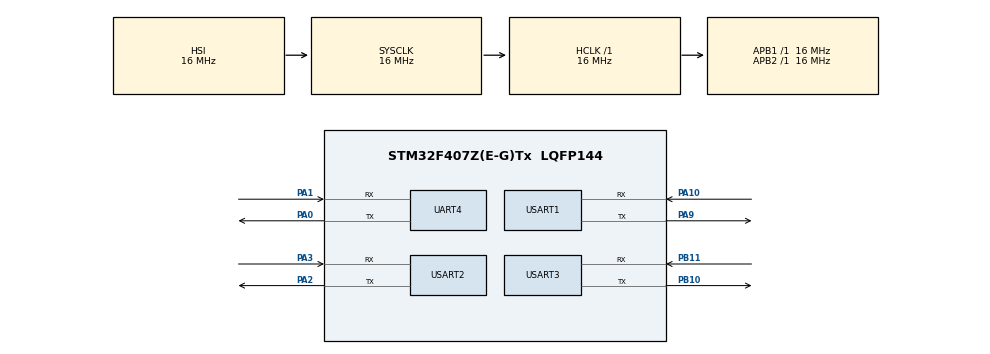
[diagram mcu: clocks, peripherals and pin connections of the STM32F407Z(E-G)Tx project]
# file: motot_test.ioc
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Mcu.Family=STM32F4
Mcu.Name=STM32F407Z(E-G)Tx
Mcu.Package=LQFP144
NVIC.PriorityGroup=NVIC_PRIORITYGROUP_4
PA0-WKUP.Mode=Asynchronous
PA0-WKUP.Signal=UART4_TX
PA1.Mode=Asynchronous
PA1.Signal=UART4_RX
PA10.Mode=Asynchronous
PA10.Signal=USART1_RX
PA13.Mode=Serial_Wire
PA13.Signal=SYS_JTMS-SWDIO
PA14.Mode=Serial_Wire
PA14.Signal=SYS_JTCK-SWCLK
PA2.Mode=Asynchronous
PA2.Signal=USART2_TX
PA3.Mode=Asynchronous
PA3.Signal=USART2_RX
PA9.Mode=Asynchronous
PA9.Signal=USART1_TX
PB10.Mode=Asynchronous
PB10.Signal=USART3_TX
PB11.Mode=Asynchronous
PB11.Signal=USART3_RX
ProjectManager.HeapSize=0x200
ProjectManager.StackSize=0x400
ProjectManager.TargetToolchain=MDK-ARM V5.32
RCC.AHBFreq_Value=16000000
RCC.APB1Freq_Value=16000000
RCC.APB2Freq_Value=16000000
RCC.CortexFreq_Value=16000000
RCC.HSE_VALUE=25000000
RCC.HSI_VALUE=16000000
RCC.LSE_VALUE=32768
RCC.SYSCLKFreq_VALUE=16000000
RCC.VCOOutputFreq_Value=192000000
UART4.VirtualMode=Asynchronous
USART1.VirtualMode=VM_ASYNC
USART2.VirtualMode=VM_ASYNC
USART3.VirtualMode=VM_ASYNC
board=custom

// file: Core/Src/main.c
/* USER CODE BEGIN Header */
/**
  ******************************************************************************
  * @file           : main.c
  * @brief          : Main program body
  ******************************************************************************
  * @attention
  *
  * Copyright (c) 2026 STMicroelectronics.
  * All rights reserved.
  *
  * This software is licensed under terms that can be found in the LICENSE file
  * in the root directory of this software component.
  * If no LICENSE file comes with this software, it is provided AS-IS.
  *
  ******************************************************************************
  */
/* USER CODE END Header */
#include "main.h"

/* USER CODE BEGIN Includes */
#include "motor_driver_emm42.h"
/* USER CODE END Includes */

UART_HandleTypeDef huart4;
UART_HandleTypeDef huart1;
UART_HandleTypeDef huart2;
UART_HandleTypeDef huart3;

void SystemClock_Config(void);
static void MX_GPIO_Init(void);
static void MX_USART1_UART_Init(void);
static void MX_UART4_Init(void);
static void MX_USART2_UART_Init(void);
static void MX_USART3_UART_Init(void);

/* USER CODE BEGIN 0 */
Emm42_Handle motor1;
Emm42_Handle motor2;
Emm42_Handle motor3;
Emm42_Handle motor4;
/* USER CODE END 0 */

int main(void)
{

  /* MCU Configuration--------------------------------------------------------*/

  /* Reset of all peripherals, Initializes the Flash interface and the Systick. */
  HAL_Init();

  /* Configure the system clock */
  SystemClock_Config();

  /* Initialize all configured peripherals */
  MX_GPIO_Init();
  MX_USART1_UART_Init();
  MX_UART4_Init();
  MX_USART2_UART_Init();
  MX_USART3_UART_Init();
  /* USER CODE BEGIN 2 */
  Emm42_Init(&motor1, &huart1, 1);  // motor1 接 USART1
  Emm42_Init(&motor2, &huart2, 1);  // motor2 接 USART2，地址都可以是1了
  Emm42_Init(&motor3, &huart3, 1);  // motor3 接 USART3
  Emm42_Init(&motor4, &huart4, 1);  // motor4 接 UART4

  HAL_Delay(200);
  Emm42_Enable(&motor1, true, false);
  HAL_Delay(10);
  Emm42_Enable(&motor2, true, false);
  HAL_Delay(10);
  Emm42_Enable(&motor3, true, false);
  HAL_Delay(10);
  Emm42_Enable(&motor4, true, false);
  HAL_Delay(100);
  /* USER CODE END 2 */

  /* Infinite loop */
  while (1)
  {

  }
}

void SystemClock_Config(void)
{
  RCC_OscInitTypeDef RCC_OscInitStruct = {0};
  RCC_ClkInitTypeDef RCC_ClkInitStruct = {0};

  /** Configure the main internal regulator output voltage
  */
  __HAL_RCC_PWR_CLK_ENABLE();
  __HAL_PWR_VOLTAGESCALING_CONFIG(PWR_REGULATOR_VOLTAGE_SCALE1);

  /** Initializes the RCC Oscillators according to the specified parameters
  * in the RCC_OscInitTypeDef structure.
  */
  RCC_OscInitStruct.OscillatorType = RCC_OSCILLATORTYPE_HSI;
  RCC_OscInitStruct.HSIState = RCC_HSI_ON;
  RCC_OscInitStruct.HSICalibrationValue = RCC_HSICALIBRATION_DEFAULT;
  RCC_OscInitStruct.PLL.PLLState = RCC_PLL_NONE;
  if (HAL_RCC_OscConfig(&RCC_OscInitStruct) != HAL_OK)
  {
    Error_Handler();
  }

  /** Initializes the CPU, AHB and APB buses clocks
  */
  RCC_ClkInitStruct.ClockType = RCC_CLOCKTYPE_HCLK|RCC_CLOCKTYPE_SYSCLK
                              |RCC_CLOCKTYPE_PCLK1|RCC_CLOCKTYPE_PCLK2;
  RCC_ClkInitStruct.SYSCLKSource = RCC_SYSCLKSOURCE_HSI;
  RCC_ClkInitStruct.AHBCLKDivider = RCC_SYSCLK_DIV1;
  RCC_ClkInitStruct.APB1CLKDivider = RCC_HCLK_DIV1;
  RCC_ClkInitStruct.APB2CLKDivider = RCC_HCLK_DIV1;

  if (HAL_RCC_ClockConfig(&RCC_ClkInitStruct, FLASH_LATENCY_0) != HAL_OK)
  {
    Error_Handler();
  }
}

static void MX_UART4_Init(void)
{

  huart4.Instance = UART4;
  huart4.Init.BaudRate = 115200;
  huart4.Init.WordLength = UART_WORDLENGTH_8B;
  huart4.Init.StopBits = UART_STOPBITS_1;
  huart4.Init.Parity = UART_PARITY_NONE;
  huart4.Init.Mode = UART_MODE_TX_RX;
  huart4.Init.HwFlowCtl = UART_HWCONTROL_NONE;
  huart4.Init.OverSampling = UART_OVERSAMPLING_16;
  if (HAL_UART_Init(&huart4) != HAL_OK)
  {
    Error_Handler();
  }

}

static void MX_USART1_UART_Init(void)
{

  huart1.Instance = USART1;
  huart1.Init.BaudRate = 115200;
  huart1.Init.WordLength = UART_WORDLENGTH_8B;
  huart1.Init.StopBits = UART_STOPBITS_1;
  huart1.Init.Parity = UART_PARITY_NONE;
  huart1.Init.Mode = UART_MODE_TX_RX;
  huart1.Init.HwFlowCtl = UART_HWCONTROL_NONE;
  huart1.Init.OverSampling = UART_OVERSAMPLING_16;
  if (HAL_UART_Init(&huart1) != HAL_OK)
  {
    Error_Handler();
  }

}

static void MX_USART2_UART_Init(void)
{

  huart2.Instance = USART2;
  huart2.Init.BaudRate = 115200;
  huart2.Init.WordLength = UART_WORDLENGTH_8B;
  huart2.Init.StopBits = UART_STOPBITS_1;
  huart2.Init.Parity = UART_PARITY_NONE;
  huart2.Init.Mode = UART_MODE_TX_RX;
  huart2.Init.HwFlowCtl = UART_HWCONTROL_NONE;
  huart2.Init.OverSampling = UART_OVERSAMPLING_16;
  if (HAL_UART_Init(&huart2) != HAL_OK)
  {
    Error_Handler();
  }

}

static void MX_USART3_UART_Init(void)
{

  huart3.Instance = USART3;
  huart3.Init.BaudRate = 115200;
  huart3.Init.WordLength = UART_WORDLENGTH_8B;
  huart3.Init.StopBits = UART_STOPBITS_1;
  huart3.Init.Parity = UART_PARITY_NONE;
  huart3.Init.Mode = UART_MODE_TX_RX;
  huart3.Init.HwFlowCtl = UART_HWCONTROL_NONE;
  huart3.Init.OverSampling = UART_OVERSAMPLING_16;
  if (HAL_UART_Init(&huart3) != HAL_OK)
  {
    Error_Handler();
  }

}

static void MX_GPIO_Init(void)
{

  /* GPIO Ports Clock Enable */
  __HAL_RCC_GPIOA_CLK_ENABLE();
  __HAL_RCC_GPIOB_CLK_ENABLE();

}

void Error_Handler(void)
{
  __disable_irq();
  while (1)
  {
  }
}
